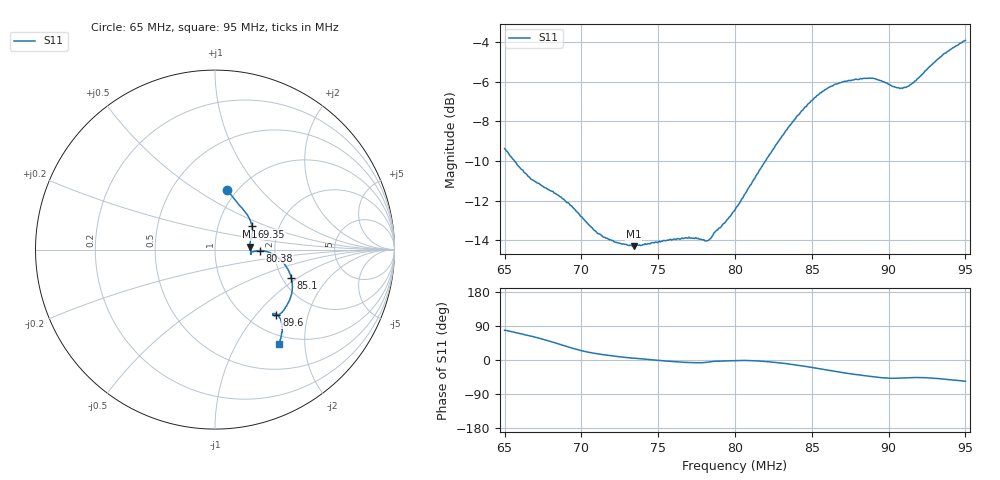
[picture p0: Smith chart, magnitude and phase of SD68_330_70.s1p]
! NanoVNA-App
! Date: 2025-08-09 13:13:24
! Start: 65MHz Stop: 95MHz Points: 401
! S-Parameter data: F S11
# Hz S RI R 50
!  Frequency  S11_Real  S11_Imag
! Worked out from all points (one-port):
!   401 points, 65 MHz to 95 MHz, reference 50 ohm
!   lowest |S11| = -14.3 dB at 73.4 MHz (marker M1), VSWR 1.48, Z = 73.7 + j2.51 ohm
!   |S11| at or under -10 dB: 65.64 MHz to 81.98 MHz (16.34 MHz wide, 22.1 % of centre)
!   S11 on the Smith chart (normalised r, x): 65 MHz: 0.90, +0.68; 69.35 MHz: 1.46, +0.40; 80.38 MHz: 1.67, -0.02; 85.1 MHz: 2.23, -0.88; 89.6 MHz: 1.32, -1.29; 95 MHz: 0.86, -1.52
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6.5e7  0.0676 0.3331
6.665e7  0.1276 0.2568
6.7775e7  0.1669 0.2107
6.875e7  0.1968 0.1613
6.935e7  0.2072 0.1288
7.0625e7  0.2036 0.071
7.145e7  0.197 0.0493
7.25e7  0.1941 0.0292
7.34e7  0.1922 0.0164
7.625e7  0.201 -0.0168
7.7375e7  0.2 -0.025
7.8275e7  0.1988 -0.0177
8e7  0.2379 -0.00655
8.0375e7  0.2509 -0.00537
8.1125e7  0.2797 -0.0089
8.21e7  0.3209 -0.0251
8.315e7  0.3639 -0.0555
8.375e7  0.3882 -0.0809
8.51e7  0.4242 -0.1563
8.615e7  0.4303 -0.2246
8.75e7  0.4066 -0.2973
8.885e7  0.371 -0.351
8.96e7  0.3425 -0.3658
9.035e7  0.3242 -0.3632
9.125e7  0.332 -0.3565
9.1925e7  0.3526 -0.3691
9.32e7  0.3742 -0.4308
9.5e7  0.3553 -0.5274
